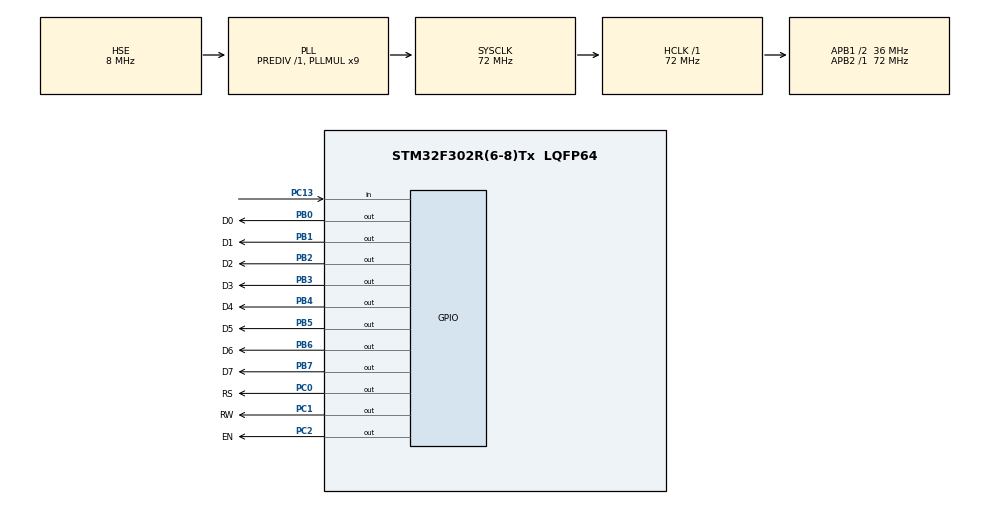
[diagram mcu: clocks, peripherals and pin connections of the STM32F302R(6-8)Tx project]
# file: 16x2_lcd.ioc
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Mcu.Family=STM32F3
Mcu.Name=STM32F302R(6-8)Tx
Mcu.Package=LQFP64
NVIC.PriorityGroup=NVIC_PRIORITYGROUP_0
PA13.Mode=Serial_Wire
PA13.Signal=SYS_JTMS-SWDIO
PA14.Mode=Serial_Wire
PA14.Signal=SYS_JTCK-SWCLK
PB0.GPIO_Label=D0
PB0.Signal=GPIO_Output
PB1.GPIO_Label=D1
PB1.Signal=GPIO_Output
PB2.GPIO_Label=D2
PB2.Signal=GPIO_Output
PB3.GPIO_Label=D3
PB3.Signal=GPIO_Output
PB4.GPIO_Label=D4
PB4.Signal=GPIO_Output
PB5.GPIO_Label=D5
PB5.Signal=GPIO_Output
PB6.GPIO_Label=D6
PB6.Signal=GPIO_Output
PB7.GPIO_Label=D7
PB7.Signal=GPIO_Output
PC0.GPIO_Label=RS
PC0.Signal=GPIO_Output
PC1.GPIO_Label=RW
PC1.Signal=GPIO_Output
PC13.Signal=GPIO_Input
PC2.GPIO_Label=EN
PC2.Signal=GPIO_Output
PF0-OSC_IN.Mode=HSE-External-Oscillator
PF0-OSC_IN.Signal=RCC_OSC_IN
PF1-OSC_OUT.Mode=HSE-External-Oscillator
PF1-OSC_OUT.Signal=RCC_OSC_OUT
ProjectManager.HeapSize=0x200
ProjectManager.StackSize=0x400
ProjectManager.TargetToolchain=STM32CubeIDE
RCC.AHBFreq_Value=72000000
RCC.APB1CLKDivider=RCC_HCLK_DIV2
RCC.APB1Freq_Value=36000000
RCC.APB1TimFreq_Value=72000000
RCC.APB2Freq_Value=72000000
RCC.APB2TimFreq_Value=72000000
RCC.CortexFreq_Value=72000000
RCC.HCLKFreq_Value=72000000
RCC.HSE_VALUE=8000000
RCC.HSI_VALUE=8000000
RCC.LSE_VALUE=32768
RCC.PLLM=8
RCC.PLLMUL=RCC_PLL_MUL9
RCC.PLLN=336
RCC.PLLP=RCC_PLLP_DIV4
RCC.PLLQ=7
RCC.PLLSourceVirtual=RCC_PLLSOURCE_HSE
RCC.SYSCLKFreq_VALUE=72000000
RCC.SYSCLKSourceVirtual=RCC_SYSCLKSOURCE_PLLCLK
RCC.USBFreq_Value=72000000
board=NUCLEO-F302R8

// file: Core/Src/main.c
/* USER CODE BEGIN Header */
/**
  ******************************************************************************
  * @file           : main.c
  * @brief          : Main program body
  ******************************************************************************
  * @attention
  *
  * Copyright (c) 2024 STMicroelectronics.
  * All rights reserved.
  *
  * This software is licensed under terms that can be found in the LICENSE file
  * in the root directory of this software component.
  * If no LICENSE file comes with this software, it is provided AS-IS.
  *
  ******************************************************************************
  */
/* USER CODE END Header */
#include "main.h"

void SystemClock_Config(void);
static void MX_GPIO_Init(void);

/* USER CODE BEGIN 0 */
uint8_t arr1[]={D0_Pin,D1_Pin,D2_Pin,D3_Pin,D4_Pin,D5_Pin,D6_Pin,D7_Pin};
char name[]="rahul";
uint8_t i=0;
uint16_t arr2[]={0x80,0x81,0x82,0x83,0x84,0x85,0x86,0x87,0x88,0x89,0x8a,0x8b,0x8c,0x8d,0x8e,0x8f};
uint16_t arr3[]={0xC0,0xc1,0xc2,0xc3,0xc4,0xc5,0xc6,0xc7,0xc8,0xc9,0xca,0xcb,0xcc,0xcd,0xce,0xcf};

typedef union
{
	struct
	{
		uint8_t b0:1;
		uint8_t b1:1;
		uint8_t b2:1;
		uint8_t b3:1;
		uint8_t b4:1;
		uint8_t b5:1;
		uint8_t b6:1;
		uint8_t b7:1;
	};
	struct
	{
		uint8_t nib1:4;
		uint8_t nib2:4;
	};
	uint8_t x;
}typedef_pinconfig;

void byte_write(uint8_t x)
{
	typedef_pinconfig y =(typedef_pinconfig)x;

	HAL_GPIO_WritePin(GPIOB, D0_Pin, y.b0);
	HAL_GPIO_WritePin(GPIOB, D1_Pin, y.b1);
	HAL_GPIO_WritePin(GPIOB, D2_Pin, y.b2);
	HAL_GPIO_WritePin(GPIOB, D3_Pin, y.b3);
	HAL_GPIO_WritePin(GPIOB, D4_Pin, y.b4);
	HAL_GPIO_WritePin(GPIOB, D5_Pin, y.b5);
	HAL_GPIO_WritePin(GPIOB, D6_Pin, y.b6);
	HAL_GPIO_WritePin(GPIOB, D7_Pin, y.b7);
}

//void byte_write(uint8_t x)
//{
//	for(int i=0;i<8;i++)
//		{
//			HAL_GPIO_WritePin(GPIOB, arr1[i], ((x>>i)&0x01)?1:0);
//		}
//}

void high_nibble_write(uint8_t x)
{
	typedef_pinconfig y =(typedef_pinconfig)x;

	HAL_GPIO_WritePin(GPIOB, D4_Pin, y.b4);
	HAL_GPIO_WritePin(GPIOB, D5_Pin, y.b5);
	HAL_GPIO_WritePin(GPIOB, D6_Pin, y.b6);
	HAL_GPIO_WritePin(GPIOB, D7_Pin, y.b7);
}

void low_nibble_write(uint8_t x)
{
	typedef_pinconfig y =(typedef_pinconfig)x;

	HAL_GPIO_WritePin(GPIOB, D4_Pin, y.b0);
	HAL_GPIO_WritePin(GPIOB, D5_Pin, y.b1);
	HAL_GPIO_WritePin(GPIOB, D6_Pin, y.b2);
	HAL_GPIO_WritePin(GPIOB, D7_Pin, y.b3);
}

void lcd_data(uint8_t data)
{
//	byte_write(data);
	high_nibble_write(data);
	HAL_GPIO_WritePin(RS_GPIO_Port, RS_Pin, GPIO_PIN_SET);
	HAL_GPIO_WritePin(RW_GPIO_Port, RW_Pin, GPIO_PIN_RESET);
	HAL_GPIO_WritePin(EN_GPIO_Port, EN_Pin, GPIO_PIN_SET);
	HAL_Delay(5);
	HAL_GPIO_WritePin(EN_GPIO_Port, EN_Pin, GPIO_PIN_RESET);
	HAL_Delay(5);

	low_nibble_write(data);
	HAL_GPIO_WritePin(RS_GPIO_Port, RS_Pin, GPIO_PIN_SET);
	HAL_GPIO_WritePin(RW_GPIO_Port, RW_Pin, GPIO_PIN_RESET);
	HAL_GPIO_WritePin(EN_GPIO_Port, EN_Pin, GPIO_PIN_SET);
	HAL_Delay(5);
	HAL_GPIO_WritePin(EN_GPIO_Port, EN_Pin, GPIO_PIN_RESET);
	HAL_Delay(5);
}

void lcd_cmd(uint8_t cmd)
{
//	byte_write(cmd);
	high_nibble_write(cmd);
	HAL_GPIO_WritePin(RS_GPIO_Port, RS_Pin, GPIO_PIN_RESET);
	HAL_GPIO_WritePin(RW_GPIO_Port, RW_Pin, GPIO_PIN_RESET);
	HAL_GPIO_WritePin(EN_GPIO_Port, EN_Pin, GPIO_PIN_SET);
	HAL_Delay(5);
	HAL_GPIO_WritePin(EN_GPIO_Port, EN_Pin, GPIO_PIN_RESET);
	HAL_Delay(5);

	low_nibble_write(cmd);
	HAL_GPIO_WritePin(RS_GPIO_Port, RS_Pin, GPIO_PIN_RESET);
	HAL_GPIO_WritePin(RW_GPIO_Port, RW_Pin, GPIO_PIN_RESET);
	HAL_GPIO_WritePin(EN_GPIO_Port, EN_Pin, GPIO_PIN_SET);
	HAL_Delay(5);
	HAL_GPIO_WritePin(EN_GPIO_Port, EN_Pin, GPIO_PIN_RESET);
	HAL_Delay(5);
}

void toggle_char_down(uint8_t data)
{
int k=15;
int l=0;
	while(l<=15)
	{
		lcd_cmd(0x01);
		lcd_cmd(arr3[k]);
		lcd_data(data);
		k--;
		l++;
//		if(k==0)
//		{
//			break;
//		}
		HAL_Delay(100);
	}
}

void delete_char()
{
	lcd_cmd(0x10);

	lcd_data(' ');
	lcd_cmd(0x10);
//	lcd_cmd(0x04);

}

void lcd_string(uint8_t *ptr)
{
	while(*ptr!='\0')
	{
		lcd_data(*ptr);
		*ptr++;
	}
}
/* USER CODE END 0 */

int main(void)
{

  /* MCU Configuration--------------------------------------------------------*/

  /* Reset of all peripherals, Initializes the Flash interface and the Systick. */
  HAL_Init();

  /* Configure the system clock */
  SystemClock_Config();

  /* Initialize all configured peripherals */
  MX_GPIO_Init();
  /* USER CODE BEGIN 2 */

  lcd_cmd(0x01);
//  lcd_cmd(0x02);
//  lcd_cmd(0x06);
  lcd_cmd(0x28);
  lcd_cmd(0x0c);
  lcd_cmd(0x0E);
  lcd_cmd(0x80);
//	  while( i<sizeof(name)-1)
//	  {
//
//		  lcd_data(name[i]);
//
//		  i++;
//	  }
lcd_string("hello");

//  lcd_data("RAHUL");
  /* USER CODE END 2 */

  /* Infinite loop */
  /* USER CODE BEGIN WHILE */
  while (1)
  {

		 if(HAL_GPIO_ReadPin(GPIOC, GPIO_PIN_13)==0)
		  {
			  delete_char();
			  while(HAL_GPIO_ReadPin(GPIOC, GPIO_PIN_13)==0);
		  }

//	  for(int i=0;i<sizeof(name);i++)
//	  {
//	  lcd_data(name[i]);
//	  }
//	  while( i<sizeof(name)-1)
//	  {
//
//		  lcd_data(name[i]);
//		  i++;
//	  }
//	  toggle_char('A');
//	  toggle_char_down('A');
//	  while(i<=15)
//		{
//		lcd_cmd(0x01);
//		lcd_cmd(arr2[i]);
	//lcd_data('a');
//		i++;
//		HAL_Delay(500);
//		}

//		for(uint8_t i=0;i<10;i++)
//		{

//			HAL_Delay(500);
			//lcd_cmd(0x01);
//			lcd_cmd(0x81);
//			lcd_data('A');
//			HAL_Delay(500);
//			lcd_cmd(0x01);
//			lcd_cmd(0x82);
//			lcd_data('A');
//			HAL_Delay(500);
////			lcd_cmd(0x01);
//		}
    /* USER CODE END WHILE */

  }
}

void SystemClock_Config(void)
{
  RCC_OscInitTypeDef RCC_OscInitStruct = {0};
  RCC_ClkInitTypeDef RCC_ClkInitStruct = {0};

  /** Initializes the RCC Oscillators according to the specified parameters
  * in the RCC_OscInitTypeDef structure.
  */
  RCC_OscInitStruct.OscillatorType = RCC_OSCILLATORTYPE_HSE;
  RCC_OscInitStruct.HSEState = RCC_HSE_ON;
  RCC_OscInitStruct.HSEPredivValue = RCC_HSE_PREDIV_DIV1;
  RCC_OscInitStruct.HSIState = RCC_HSI_ON;
  RCC_OscInitStruct.PLL.PLLState = RCC_PLL_ON;
  RCC_OscInitStruct.PLL.PLLSource = RCC_PLLSOURCE_HSE;
  RCC_OscInitStruct.PLL.PLLMUL = RCC_PLL_MUL9;
  if (HAL_RCC_OscConfig(&RCC_OscInitStruct) != HAL_OK)
  {
    Error_Handler();
  }

  /** Initializes the CPU, AHB and APB buses clocks
  */
  RCC_ClkInitStruct.ClockType = RCC_CLOCKTYPE_HCLK|RCC_CLOCKTYPE_SYSCLK
                              |RCC_CLOCKTYPE_PCLK1|RCC_CLOCKTYPE_PCLK2;
  RCC_ClkInitStruct.SYSCLKSource = RCC_SYSCLKSOURCE_PLLCLK;
  RCC_ClkInitStruct.AHBCLKDivider = RCC_SYSCLK_DIV1;
  RCC_ClkInitStruct.APB1CLKDivider = RCC_HCLK_DIV2;
  RCC_ClkInitStruct.APB2CLKDivider = RCC_HCLK_DIV1;

  if (HAL_RCC_ClockConfig(&RCC_ClkInitStruct, FLASH_LATENCY_2) != HAL_OK)
  {
    Error_Handler();
  }
}

static void MX_GPIO_Init(void)
{
  GPIO_InitTypeDef GPIO_InitStruct = {0};

  /* GPIO Ports Clock Enable */
  __HAL_RCC_GPIOC_CLK_ENABLE();
  __HAL_RCC_GPIOF_CLK_ENABLE();
  __HAL_RCC_GPIOB_CLK_ENABLE();
  __HAL_RCC_GPIOA_CLK_ENABLE();

  /*Configure GPIO pin Output Level */
  HAL_GPIO_WritePin(GPIOC, RS_Pin|RW_Pin|EN_Pin, GPIO_PIN_RESET);

  /*Configure GPIO pin Output Level */
  HAL_GPIO_WritePin(GPIOB, D0_Pin|D1_Pin|D2_Pin|D3_Pin
                          |D4_Pin|D5_Pin|D6_Pin|D7_Pin, GPIO_PIN_RESET);

  /*Configure GPIO pin : PC13 */
  GPIO_InitStruct.Pin = GPIO_PIN_13;
  GPIO_InitStruct.Mode = GPIO_MODE_INPUT;
  GPIO_InitStruct.Pull = GPIO_NOPULL;
  HAL_GPIO_Init(GPIOC, &GPIO_InitStruct);

  /*Configure GPIO pins : RS_Pin RW_Pin EN_Pin */
  GPIO_InitStruct.Pin = RS_Pin|RW_Pin|EN_Pin;
  GPIO_InitStruct.Mode = GPIO_MODE_OUTPUT_PP;
  GPIO_InitStruct.Pull = GPIO_NOPULL;
  GPIO_InitStruct.Speed = GPIO_SPEED_FREQ_LOW;
  HAL_GPIO_Init(GPIOC, &GPIO_InitStruct);

  /*Configure GPIO pins : D0_Pin D1_Pin D2_Pin D3_Pin
                           D4_Pin D5_Pin D6_Pin D7_Pin */
  GPIO_InitStruct.Pin = D0_Pin|D1_Pin|D2_Pin|D3_Pin
                          |D4_Pin|D5_Pin|D6_Pin|D7_Pin;
  GPIO_InitStruct.Mode = GPIO_MODE_OUTPUT_PP;
  GPIO_InitStruct.Pull = GPIO_NOPULL;
  GPIO_InitStruct.Speed = GPIO_SPEED_FREQ_LOW;
  HAL_GPIO_Init(GPIOB, &GPIO_InitStruct);

}

/* USER CODE BEGIN 4 */

void toggle_char(uint8_t data)
{
int j=0;
	while(j<=15)
	{
		lcd_cmd(0x01);
		lcd_cmd(arr2[j]);
		lcd_data(data);
		j++;
		HAL_Delay(100);
	}
}

/* USER CODE END 4 */

void Error_Handler(void)
{
  __disable_irq();
  while (1)
  {
  }
}
